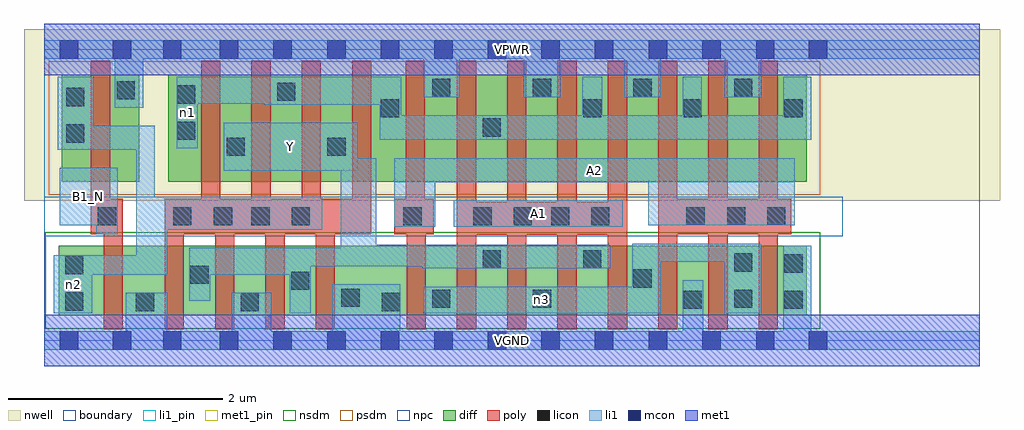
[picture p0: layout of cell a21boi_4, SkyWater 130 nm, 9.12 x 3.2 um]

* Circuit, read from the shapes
.subckt a21boi_4 A1 A2 B1_N VGND VPWR Y n1 n2 n3
XM1 VGND B1_N n2 VSUBS sky130_fd_pr__nfet_01v8 w=0.65 l=0.18
XM2 Y n2 VGND VSUBS sky130_fd_pr__nfet_01v8 w=0.65 l=0.18 m=4
XM3 n3 A2 VGND VSUBS sky130_fd_pr__nfet_01v8 w=0.65 l=0.18 m=4
XM4 Y A1 n3 VSUBS sky130_fd_pr__nfet_01v8 w=0.65 l=0.18 m=4
XM5 VPWR B1_N n2 n4 sky130_fd_pr__pfet_01v8 w=1 l=0.18
XM6 Y n2 n1 n4 sky130_fd_pr__pfet_01v8 w=1 l=0.18 m=4
XM7 VPWR A2 n1 n4 sky130_fd_pr__pfet_01v8 w=1 l=0.18 m=4
XM8 n1 A1 VPWR n4 sky130_fd_pr__pfet_01v8 w=1 l=0.18 m=4
.ends

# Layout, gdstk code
import gdstk
lib = gdstk.Library(unit=1e-6, precision=1e-09)
def R(c, l, rs):  # rectangles x0, y0, x1, y1
    for r in rs: c.add(gdstk.rectangle(r[:2], r[2:], *l))
def A(c, l, x, y, w, h, nx, ny, dx, dy):  # array of equal rectangles
    R(c, l, [(x+i*dx, y+j*dy, x+i*dx+w, y+j*dy+h) for i in range(nx) for j in range(ny)])
nwell = (64, 20)
diff = (65, 20)
poly = (66, 20)
licon = (66, 44)
li1_pin = (67, 16)
li1 = (67, 20)
mcon = (67, 44)
met1_pin = (68, 16)
met1 = (68, 20)
nsdm = (93, 44)
psdm = (94, 20)
npc = (95, 20)
boundary = (235, 4)

a21boi_4 = lib.new_cell('a21boi_4')
R(a21boi_4, nwell, [(-0.19,1.305,8.93,2.91), (0,1.305,8.74,2.91)])
R(a21boi_4, diff, [(0.135,0.235,7.125,0.885), (0.165,1.485,0.885,2.485), (1.16,1.485,7.125,2.485)])
A(a21boi_4, poly, 1.125, 0.105, 0.18, 1.22, 4, 1, 0.47, 0)
A(a21boi_4, poly, 3.855, 0.105, 0.18, 2.51, 7, 1, 0.47, 0)
A(a21boi_4, poly, 1.465, 0.995, 0.18, 1.62, 4, 1, 0.47, 0)
R(a21boi_4, poly, [(0.555,0.105,0.735,1.325), (3.385,0.105,3.565,1.325), (3.855,0.99,5.445,1.295), (0.435,0.995,0.615,2.615), (1.125,0.995,3.055,1.325), (3.27,0.995,3.64,1.325), (3.375,0.995,3.555,2.615), (5.735,0.995,6.98,1.325)])
A(a21boi_4, licon, 5.035, 2.085, 0.17, 0.17, 3, 1, 0.94, 0)
A(a21boi_4, licon, 3.625, 2.275, 0.17, 0.17, 4, 1, 0.94, 0)
R(a21boi_4, licon, [(0.855,0.275,1.025,0.445), (1.835,0.275,2.005,0.445), (3.155,0.275,3.325,0.445), (0.195,0.28,0.365,0.45), (5.975,0.295,6.145,0.465), (6.915,0.295,7.085,0.465), (3.625,0.305,3.795,0.475), (4.565,0.305,4.735,0.475), (6.445,0.305,6.615,0.475), (2.775,0.315,2.945,0.485), (2.305,0.475,2.475,0.645), (5.505,0.495,5.675,0.665), (1.365,0.53,1.535,0.7), (0.195,0.62,0.365,0.79), (6.915,0.635,7.085,0.805), (6.445,0.645,6.615,0.815), (4.095,0.675,4.265,0.845), (5.035,0.675,5.205,0.845), (0.5,1.075,0.67,1.245), (1.205,1.075,1.375,1.245), (1.585,1.075,1.755,1.245), (1.935,1.075,2.105,1.245), (2.31,1.075,2.48,1.245), (3.355,1.075,3.525,1.245), (4.01,1.075,4.18,1.245), (4.385,1.075,4.555,1.245), (4.735,1.075,4.905,1.245), (5.11,1.075,5.28,1.245), (6,1.075,6.17,1.245), (6.38,1.075,6.55,1.245), (6.755,1.075,6.925,1.245), (1.705,1.725,1.875,1.895), (2.645,1.725,2.815,1.895), (0.205,1.85,0.375,2.02), (1.24,1.875,1.41,2.045), (4.095,1.905,4.265,2.075), (3.145,2.085,3.315,2.255), (0.205,2.19,0.375,2.36), (1.24,2.215,1.41,2.385), (2.175,2.24,2.345,2.41), (0.675,2.255,0.845,2.425)])
R(a21boi_4, li1_pin, [(3.825,1.065,5.405,1.31), (0.145,1.075,0.685,1.615), (3.27,1.48,7.01,1.705), (1.675,1.585,2.93,2.035)])
A(a21boi_4, li1, 3.54, 2.275, 0.34, 0.53, 4, 1, 0.94, 0)
R(a21boi_4, li1, [(0,-0.085,8.74,0.085), (0.76,-0.085,1.15,0.445), (1.75,-0.085,2.12,0.445), (2.69,-0.085,3.325,0.525), (5.965,-0.085,6.155,0.565), (6.905,-0.085,7.165,0.885), (0.09,0.255,0.45,0.795), (2.295,0.255,2.49,0.865), (3.54,0.255,5.76,0.505), (5.495,0.255,5.76,0.905), (6.36,0.255,6.7,0.905), (1.355,0.37,1.55,0.865), (0.09,0.615,1.15,0.795), (0.86,0.615,1.03,2.005), (0.86,0.615,1.15,1.345), (1.355,0.615,2.49,0.865), (3.53,0.675,5.29,0.895), (1.355,0.695,5.29,0.865), (2.77,0.695,5.29,0.895), (5.495,0.735,6.7,0.905), (2.77,0.895,3.1,1.705), (0.485,0.995,0.685,1.615), (0.86,1.035,2.595,1.345), (3.27,1.065,3.655,1.705), (3.825,1.065,5.405,1.31), (0.145,1.075,0.685,1.615), (5.645,1.075,7.01,1.705), (3.27,1.48,7.01,1.705), (1.675,1.585,2.93,2.035), (0.125,1.785,0.46,2.465), (0.125,1.785,1.03,2.005), (1.235,1.795,1.435,2.465), (3.135,1.875,7.165,2.105), (3.135,1.875,3.335,2.465), (5.025,1.875,5.215,2.465), (5.965,1.875,6.145,2.465), (6.905,1.875,7.165,2.465), (0.66,2.175,0.925,2.805), (2.06,2.205,3.335,2.465), (1.235,2.215,3.335,2.465), (0,2.635,8.74,2.805)])
A(a21boi_4, mcon, 2.645, -0.085, 0.17, 0.17, 6, 2, 0.5, 2.72)
A(a21boi_4, mcon, 5.65, -0.085, 0.17, 0.17, 3, 2, 0.5, 2.72)
R(a21boi_4, mcon, [(0.145,-0.085,0.315,0.085), (0.64,-0.085,0.81,0.085), (1.11,-0.085,1.28,0.085), (1.64,-0.085,1.81,0.085), (2.14,-0.085,2.31,0.085), (7.145,-0.085,7.315,0.085), (0.145,2.635,0.315,2.805), (0.64,2.635,0.81,2.805), (1.11,2.635,1.28,2.805), (1.64,2.635,1.81,2.805), (2.14,2.635,2.31,2.805), (7.145,2.635,7.315,2.805)])
R(a21boi_4, met1_pin, [(0,-0.24,8.74,0.24), (0,2.48,8.74,2.96)])
R(a21boi_4, met1, [(0,-0.24,8.74,0.24), (0,2.48,8.74,2.96)])
R(a21boi_4, nsdm, [(0.01,0.11,7.25,1.01)])
R(a21boi_4, psdm, [(0.04,1.36,7.25,2.61)])
R(a21boi_4, npc, [(0,0.975,7.46,1.345)])
R(a21boi_4, boundary, [(0,0,8.74,2.72)])
a21boi_4.add(gdstk.Label('A1', (4.615,1.187), layer=67, texttype=5))
a21boi_4.add(gdstk.Label('A2', (5.14,1.592), layer=67, texttype=5))
a21boi_4.add(gdstk.Label('B1_N', (0.415,1.345), layer=67, texttype=5))
a21boi_4.add(gdstk.Label('Y', (2.302,1.81), layer=67, texttype=5))
a21boi_4.add(gdstk.Label('n3', (4.65,0.38), layer=67, texttype=5))
a21boi_4.add(gdstk.Label('n2', (0.27,0.525), layer=67, texttype=5))
a21boi_4.add(gdstk.Label('n1', (1.335,2.13), layer=67, texttype=5))
a21boi_4.add(gdstk.Label('VPWR', (4.37,2.72), layer=68, texttype=5))
a21boi_4.add(gdstk.Label('VGND', (4.37,0), layer=68, texttype=5))
a21boi_4.add(gdstk.Label('A1', (4.615,1.187), layer=67, texttype=16))
a21boi_4.add(gdstk.Label('A2', (5.14,1.592), layer=67, texttype=16))
a21boi_4.add(gdstk.Label('B1_N', (0.415,1.345), layer=67, texttype=16))
a21boi_4.add(gdstk.Label('Y', (2.302,1.81), layer=67, texttype=16))
a21boi_4.add(gdstk.Label('VPWR', (4.37,2.72), layer=68, texttype=16))
a21boi_4.add(gdstk.Label('VGND', (4.37,0), layer=68, texttype=16))

lib.write_gds('a21boi_4.gds')
